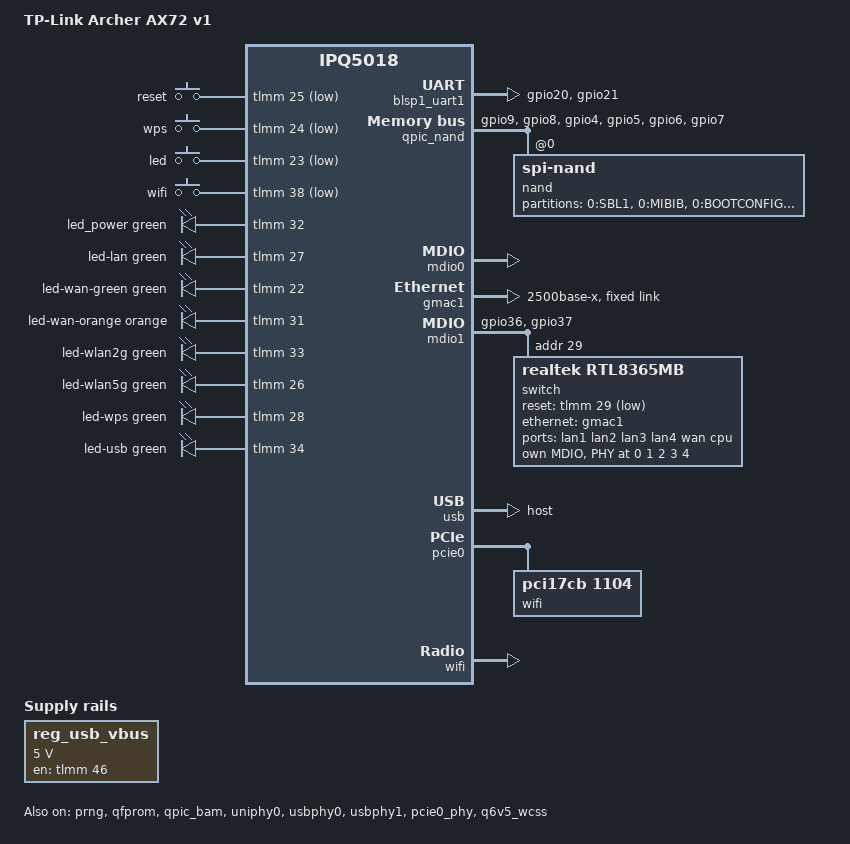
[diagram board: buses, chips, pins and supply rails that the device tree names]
// SPDX-License-Identifier: GPL-2.0-or-later OR MIT

/dts-v1/;

#include "ipq5018.dtsi"
#include "ipq5018-ess.dtsi"
#include "ipq5018-qcn6122.dtsi"

#include <dt-bindings/gpio/gpio.h>
#include <dt-bindings/input/input.h>
#include <dt-bindings/leds/common.h>

/ {
	model = "TP-Link Archer AX72 v1";
	compatible = "tplink,archer-ax72-v1", "qcom,ipq5018";

	aliases {
		serial0 = &blsp1_uart1;
		led-boot = &led_power;
		led-failsafe = &led_power;
		led-running = &led_power;
		led-upgrade = &led_power;
	};

	chosen {
		stdout-path = "serial0:115200n8";
		bootargs-append = " root=/dev/ubiblock0_1 coherent_pool=2M";
	};

	keys {
		compatible = "gpio-keys";
		pinctrl-0 = <&button_pins>;
		pinctrl-names = "default";

		button-reset {
			label = "reset";
			gpios = <&tlmm 25 GPIO_ACTIVE_LOW>;
			linux,code = <KEY_RESTART>;
		};

		button-wps {
			label = "wps";
			gpios = <&tlmm 24 GPIO_ACTIVE_LOW>;
			linux,code = <KEY_WPS_BUTTON>;
		};

		button-led {
			label = "led";
			gpios = <&tlmm 23 GPIO_ACTIVE_LOW>;
			linux,code = <KEY_LIGHTS_TOGGLE>;
		};

		button-wifi {
			label = "wifi";
			gpios = <&tlmm 38 GPIO_ACTIVE_LOW>;
			linux,code = <KEY_RFKILL>;
		};
	};

	/* LED GPIOs from the stock device tree, each confirmed on hardware */
	leds {
		compatible = "gpio-leds";
		pinctrl-0 = <&led_pins>;
		pinctrl-names = "default";

		led_power: led-power {
			color = <LED_COLOR_ID_GREEN>;
			function = LED_FUNCTION_POWER;
			gpios = <&tlmm 32 GPIO_ACTIVE_HIGH>;
		};

		led-lan {
			color = <LED_COLOR_ID_GREEN>;
			function = LED_FUNCTION_LAN;
			gpios = <&tlmm 27 GPIO_ACTIVE_HIGH>;
		};

		led-wan-green {
			color = <LED_COLOR_ID_GREEN>;
			function = LED_FUNCTION_WAN_ONLINE;
			gpios = <&tlmm 22 GPIO_ACTIVE_HIGH>;
		};

		led-wan-orange {
			color = <LED_COLOR_ID_ORANGE>;
			function = LED_FUNCTION_WAN;
			gpios = <&tlmm 31 GPIO_ACTIVE_HIGH>;
		};

		led-wlan2g {
			color = <LED_COLOR_ID_GREEN>;
			function = LED_FUNCTION_WLAN_2GHZ;
			gpios = <&tlmm 33 GPIO_ACTIVE_HIGH>;
		};

		led-wlan5g {
			color = <LED_COLOR_ID_GREEN>;
			function = LED_FUNCTION_WLAN_5GHZ;
			gpios = <&tlmm 26 GPIO_ACTIVE_HIGH>;
		};

		led-wps {
			color = <LED_COLOR_ID_GREEN>;
			function = LED_FUNCTION_WPS;
			gpios = <&tlmm 28 GPIO_ACTIVE_HIGH>;
		};

		led-usb {
			color = <LED_COLOR_ID_GREEN>;
			function = LED_FUNCTION_USB;
			gpios = <&tlmm 34 GPIO_ACTIVE_HIGH>;
			trigger-sources = <&usb_port1>;
			linux,default-trigger = "usbport";
		};
	};

	/* vendor "usb_enabled" GPIO - switches the USB port's VBUS rail */
	reg_usb_vbus: regulator-usb-vbus {
		compatible = "regulator-fixed";
		regulator-name = "usb_vbus";
		regulator-min-microvolt = <5000000>;
		regulator-max-microvolt = <5000000>;
		gpios = <&tlmm 46 GPIO_ACTIVE_HIGH>;
		enable-active-high;
	};
};

&sleep_clk {
	clock-frequency = <32000>;
};

&xo_board_clk {
	clock-div = <4>;
	clock-mult = <1>;
};

&blsp1_uart1 {
	pinctrl-0 = <&serial_0_pins>;
	pinctrl-names = "default";
	status = "okay";
};

&prng {
	status = "okay";
};

&qfprom {
	status = "okay";
};

&qpic_bam {
	status = "okay";
};

&qpic_nand {
	pinctrl-0 = <&qpic_pins>;
	pinctrl-names = "default";
	status = "okay";

	nand@0 {
		compatible = "spi-nand";
		reg = <0>;

		nand-ecc-engine = <&qpic_nand>;
		nand-ecc-strength = <4>;
		nand-ecc-step-size = <512>;
		nand-bus-width = <8>;

		/* identical to stock /proc/mtd on 1.2.6 */
		partitions {
			compatible = "fixed-partitions";
			#address-cells = <1>;
			#size-cells = <1>;

			partition@0 {
				label = "0:SBL1";
				reg = <0x0 0x80000>;
				read-only;
			};

			partition@80000 {
				label = "0:MIBIB";
				reg = <0x80000 0x80000>;
				read-only;
			};

			partition@100000 {
				label = "0:BOOTCONFIG";
				reg = <0x100000 0x40000>;
				read-only;
			};

			partition@140000 {
				label = "0:BOOTCONFIG1";
				reg = <0x140000 0x40000>;
				read-only;
			};

			partition@180000 {
				label = "0:QSEE";
				reg = <0x180000 0x100000>;
				read-only;
			};

			partition@280000 {
				label = "0:DEVCFG";
				reg = <0x280000 0x40000>;
				read-only;
			};

			partition@2c0000 {
				label = "0:CDT";
				reg = <0x2c0000 0x40000>;
				read-only;
			};

			partition@300000 {
				label = "0:APPSBLENV";
				reg = <0x300000 0x80000>;
			};

			partition@380000 {
				label = "0:APPSBL";
				reg = <0x380000 0x140000>;
				read-only;
			};

			partition@4c0000 {
				label = "0:ART";
				reg = <0x4c0000 0x100000>;
				read-only;
			};

			partition@5c0000 {
				label = "0:TRAINING";
				reg = <0x5c0000 0x80000>;
				read-only;
			};

			partition@640000 {
				label = "rootfs";
				reg = <0x640000 0x2a00000>;
			};

			partition@3040000 {
				label = "rootfs_1";
				reg = <0x3040000 0x2a00000>;
			};

			partition@5a40000 {
				label = "tp_data";
				reg = <0x5a40000 0x840000>;
				read-only;
			};

			partition@6280000 {
				label = "radio";
				reg = <0x6280000 0x440000>;
				read-only;
			};

			partition@66c0000 {
				label = "data";
				reg = <0x66c0000 0x80000>;
			};
		};
	};
};

/*
 * Ethernet (same topology as the Archer AX55 v1):
 *
 *   IPQ5018 gmac1 -> uniphy0 -> 2.5G HSGMII -> RTL8367S EXT1 (port 6)
 *   Front jacks, confirmed by link test on stock 1.2.6:
 *     LAN1-4 = switch ports 0-3, WAN = switch port 4
 *   The internal GE PHY (mdio0 addr 7 / gmac0) is not bonded out.
 */

/* Keep mdio0 enabled: its GE PHY reset also gates the shared MDC/MDIO path (see AX55). */
&mdio0 {
	status = "okay";
};

&uniphy0 {
	status = "okay";

	assigned-clocks = <&uniphy0 UNIPHY_CLK_REF>;
	assigned-clock-rates = <UNIPHY_REFCLK_50MHZ>;
};

&gmac1 {
	status = "okay";

	phy-mode = "2500base-x";

	fixed-link {
		speed = <2500>;
		full-duplex;
	};
};

&mdio1 {
	status = "okay";

	pinctrl-0 = <&mdio1_pins>;
	pinctrl-names = "default";

	/*
	 * Reset GPIO29: the stock driver logs "GPIO29 reset switch done". The
	 * stock DT's "reset_gpio 39" is the same bogus value seen on the AX55.
	 */
	switch@1d {
		compatible = "realtek,rtl8365mb";
		reg = <0x1d>;
		reset-gpios = <&tlmm 29 GPIO_ACTIVE_LOW>;

		mdio {
			compatible = "realtek,smi-mdio";
			#address-cells = <1>;
			#size-cells = <0>;

			switchphy0: ethernet-phy@0 {
				reg = <0>;
			};

			switchphy1: ethernet-phy@1 {
				reg = <1>;
			};

			switchphy2: ethernet-phy@2 {
				reg = <2>;
			};

			switchphy3: ethernet-phy@3 {
				reg = <3>;
			};

			switchphy4: ethernet-phy@4 {
				reg = <4>;
			};
		};

		ports {
			#address-cells = <1>;
			#size-cells = <0>;

			port@0 {
				reg = <0>;
				label = "lan1";
				phy-handle = <&switchphy0>;
			};

			port@1 {
				reg = <1>;
				label = "lan2";
				phy-handle = <&switchphy1>;
			};

			port@2 {
				reg = <2>;
				label = "lan3";
				phy-handle = <&switchphy2>;
			};

			port@3 {
				reg = <3>;
				label = "lan4";
				phy-handle = <&switchphy3>;
			};

			port@4 {
				reg = <4>;
				label = "wan";
				phy-handle = <&switchphy4>;
			};

			port@6 {
				reg = <6>;
				label = "cpu";
				ethernet = <&gmac1>;
				phy-mode = "2500base-x";

				fixed-link {
					speed = <2500>;
					full-duplex;
				};
			};
		};
	};
};

&usbphy0 {
	status = "okay";
};

&usbphy1 {
	status = "okay";

	vdd-supply = <&reg_usb_vbus>;
};

&usb {
	status = "okay";

	#address-cells = <1>;
	#size-cells = <0>;
	dr_mode = "host";

	usb_port1: port@1 {
		reg = <1>;
		#trigger-source-cells = <0>;
	};
};

/* 5 GHz QCN9074 (17cb:1104) on the 2-lane controller, PERST gpio15 */
&pcie0_phy {
	status = "okay";
};

&pcie0 {
	status = "okay";

	perst-gpios = <&tlmm 15 GPIO_ACTIVE_LOW>;

	pcie@0 {
		wifi@0,0 {
			status = "okay";

			compatible = "pci17cb,1104";
			reg = <0x00010000 0 0 0 0>;

			qcom,calibration-variant = "TP-Link-Archer-AX72-v1";
		};
	};
};

/*
 * Multi-PD layout for the WLAN.HK.2.7.0.1 IPQ5018 firmware (as on the AX55;
 * the QCN6122 nodes stay disabled). The single-PD 2.6.0.1 firmware from
 * linux-firmware crashes (q6wcss fatal error) whenever the 2.4 GHz AP is
 * restarted, e.g. by "wifi" or the Wi-Fi button.
 */
&q6v5_wcss {
	status = "okay";
};

/* 2.4 GHz IPQ5018 internal radio */
&wifi {
	status = "okay";

	qcom,rproc = <&q6_wcss_pd1>;
	qcom,ath11k-fw-memory-mode = <1>;
	qcom,bdf-addr = <0x4c400000>;
	qcom,calibration-variant = "TP-Link-Archer-AX72-v1";
};

&tlmm {
	button_pins: button-state {
		pins = "gpio23", "gpio24", "gpio25", "gpio38";
		function = "gpio";
		drive-strength = <8>;
		bias-pull-up;
	};

	led_pins: led-state {
		pins = "gpio22", "gpio26", "gpio27", "gpio28",
		       "gpio31", "gpio32", "gpio33", "gpio34";
		function = "gpio";
		drive-strength = <2>;
		bias-disable;
	};

	mdio1_pins: mdio1-state {
		mdc-pins {
			pins = "gpio36";
			function = "mdc";
			drive-strength = <8>;
			bias-pull-up;
		};

		mdio-pins {
			pins = "gpio37";
			function = "mdio";
			drive-strength = <8>;
			bias-pull-up;
		};
	};

	qpic_pins: qpic-state {
		clock-pins {
			pins = "gpio9";
			function = "qspi_clk";
			drive-strength = <8>;
			bias-disable;
		};

		cs-pins {
			pins = "gpio8";
			function = "qspi_cs";
			drive-strength = <8>;
			bias-disable;
		};

		data-pins {
			pins = "gpio4", "gpio5", "gpio6", "gpio7";
			function = "qspi_data";
			drive-strength = <8>;
			bias-disable;
		};
	};

	serial_0_pins: uart0-state {
		pins = "gpio20", "gpio21";
		function = "blsp0_uart0";
		bias-disable;
	};
};
